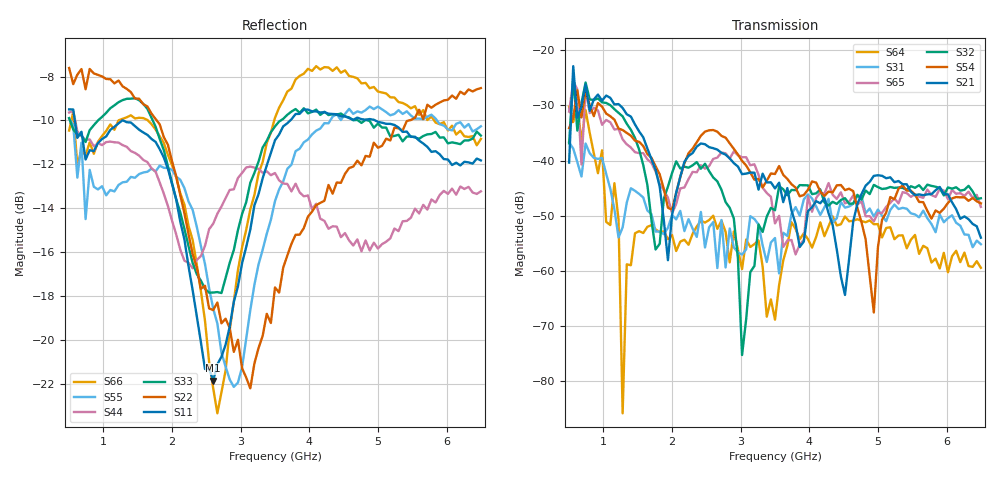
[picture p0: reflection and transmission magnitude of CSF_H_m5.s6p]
!Keysight Technologies,M9804A,MY58100912,A.14.10.03
!Date: Thursday, April 27, 2023 10:28:33
!Correction: S11(C  6-Port  )
!S12(C  6-Port  )
!S13(C  6-Port  )
!S14(C  6-Port  )
!S15(C  6-Port  )
!S16(C  6-Port  )
!S21(C  6-Port  )
!S22(C  6-Port  )
!S23(C  6-Port  )
!S24(C  6-Port  )
!S25(C  6-Port  )
!S26(C  6-Port  )
!S31(C  6-Port  )
!S32(C  6-Port  )
!S33(C  6-Port  )
!S34(C  6-Port  )
!S35(C  6-Port  )
!S36(C  6-Port  )
!S41(C  6-Port  )
!S42(C  6-Port  )
!S43(C  6-Port  )
!S44(C  6-Port  )
!S45(C  6-Port  )
!S46(C  6-Port  )
!S51(C  6-Port  )
!S52(C  6-Port  )
!S53(C  6-Port  )
!S54(C  6-Port  )
!S55(C  6-Port  )
!S56(C  6-Port  )
!S61(C  6-Port  )
!S62(C  6-Port  )
!S63(C  6-Port  )
!S64(C  6-Port  )
!S65(C  6-Port  )
!S66(C  6-Port  )
!S6P File: Measurement: :
# Hz S  RI  R 50
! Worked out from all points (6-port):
!   101 points, 500 MHz to 6.5 GHz, reference 50 ohm
!   strongest paths, dB at 500 MHz, 2 GHz, 3.5 GHz, 5 GHz, 6.5 GHz:
!     S21: -40.4, -49.9, -45.0, -42.7, -54.0
!     S54: -34.1, -48.9, -42.4, -55.7, -47.7
!     S32: -36.9, -42.3, -49.0, -44.8, -46.8
!     S65: -31.1, -49.6, -51.4, -49.5, -48.4
!     S31: -36.7, -49.9, -54.0, -48.9, -55.2
!     S64: -30.2, -53.5, -68.8, -51.5, -59.4
!   lowest |S11| = -21.8 dB at 2.6 GHz (marker M1), VSWR 1.18, Z = 42.7 + j1.92 ohm
!   |S11| at or under -10 dB: 583.2 MHz to 1.276 GHz (692.3 MHz wide, 74.5 % of centre); 1.287 GHz to 3.722 GHz (2.434 GHz wide, 97.2 % of centre); 4.961 GHz to end of sweep
